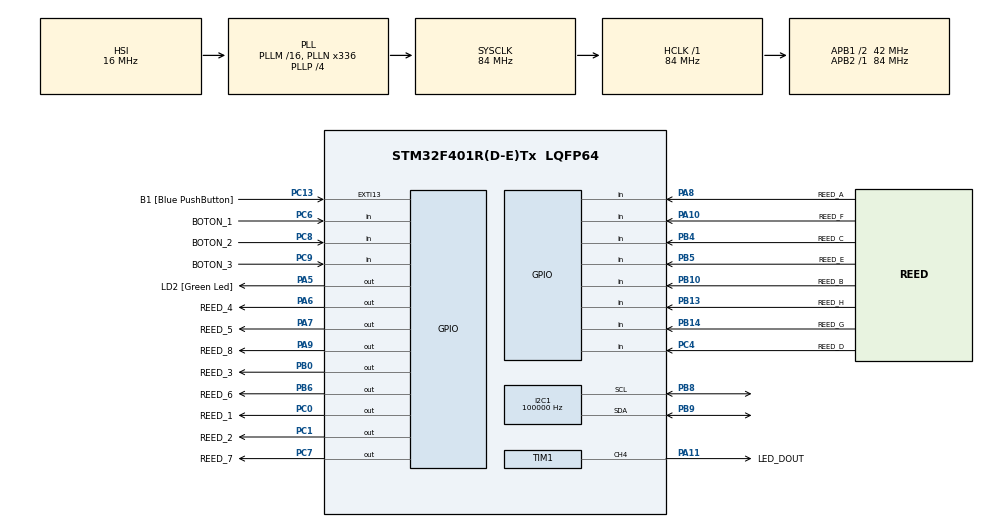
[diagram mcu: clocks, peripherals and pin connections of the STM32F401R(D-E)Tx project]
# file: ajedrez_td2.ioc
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Dma.Request0=TIM1_CH4/TRIG/COM
Dma.TIM1_CH4/TRIG/COM.0.Direction=DMA_MEMORY_TO_PERIPH
Dma.TIM1_CH4/TRIG/COM.0.FIFOMode=DMA_FIFOMODE_DISABLE
Dma.TIM1_CH4/TRIG/COM.0.Instance=DMA2_Stream4
Dma.TIM1_CH4/TRIG/COM.0.MemDataAlignment=DMA_MDATAALIGN_HALFWORD
Dma.TIM1_CH4/TRIG/COM.0.MemInc=DMA_MINC_ENABLE
Dma.TIM1_CH4/TRIG/COM.0.Mode=DMA_NORMAL
Dma.TIM1_CH4/TRIG/COM.0.PeriphDataAlignment=DMA_PDATAALIGN_HALFWORD
Dma.TIM1_CH4/TRIG/COM.0.PeriphInc=DMA_PINC_DISABLE
Dma.TIM1_CH4/TRIG/COM.0.Priority=DMA_PRIORITY_LOW
FREERTOS.INCLUDE_vTaskDelayUntil=1
FREERTOS.Tasks01=defaultTask,0,2048,StartDefaultTask,Default,NULL,Dynamic,NULL,NULL
FREERTOS.configCHECK_FOR_STACK_OVERFLOW=1
FREERTOS.configIDLE_SHOULD_YIELD=0
FREERTOS.configMINIMAL_STACK_SIZE=128
FREERTOS.configTOTAL_HEAP_SIZE=32000
FREERTOS.configUSE_NEWLIB_REENTRANT=1
I2C1.ClockSpeed=100000
I2C1.I2C_Mode=I2C_Standard
Mcu.Family=STM32F4
Mcu.Name=STM32F401R(D-E)Tx
Mcu.Package=LQFP64
NVIC.DMA2_Stream4_IRQn=true\:5\:0\:false\:false\:true\:true\:false\:true\:true
NVIC.PriorityGroup=NVIC_PRIORITYGROUP_4
NVIC.TIM1_TRG_COM_TIM11_IRQn=true\:5\:0\:false\:false\:true\:true\:true\:true\:true
NVIC.TIM2_IRQn=true\:15\:0\:false\:false\:true\:false\:false\:true\:true
NVIC.TimeBase=TIM2_IRQn
NVIC.TimeBaseIP=TIM2
PA10.GPIO_Label=REED_F
PA10.GPIO_PuPd=GPIO_PULLDOWN
PA10.Signal=GPIO_Input
PA11.GPIO_Label=LED_DOUT
PA11.Signal=S_TIM1_CH4
PA13.GPIO_Label=TMS
PA13.Mode=Serial_Wire
PA13.Signal=SYS_JTMS-SWDIO
PA14.GPIO_Label=TCK
PA14.Mode=Serial_Wire
PA14.Signal=SYS_JTCK-SWCLK
PA5.GPIO_Label=LD2 [Green Led]
PA5.GPIO_Mode=GPIO_MODE_OUTPUT_PP
PA5.GPIO_PuPd=GPIO_NOPULL
PA5.GPIO_Speed=GPIO_SPEED_FREQ_LOW
PA5.Signal=GPIO_Output
PA6.GPIO_Label=REED_4
PA6.GPIO_Speed=GPIO_SPEED_FREQ_VERY_HIGH
PA6.Signal=GPIO_Output
PA7.GPIO_Label=REED_5
PA7.GPIO_Speed=GPIO_SPEED_FREQ_VERY_HIGH
PA7.Signal=GPIO_Output
PA8.GPIO_Label=REED_A
PA8.GPIO_PuPd=GPIO_PULLDOWN
PA8.Signal=GPIO_Input
PA9.GPIO_Label=REED_8
PA9.GPIO_Speed=GPIO_SPEED_FREQ_VERY_HIGH
PA9.Signal=GPIO_Output
PB0.GPIO_Label=REED_3
PB0.GPIO_Speed=GPIO_SPEED_FREQ_VERY_HIGH
PB0.Signal=GPIO_Output
PB10.GPIO_Label=REED_B
PB10.GPIO_PuPd=GPIO_PULLDOWN
PB10.Signal=GPIO_Input
PB13.GPIO_Label=REED_H
PB13.GPIO_PuPd=GPIO_PULLDOWN
PB13.Signal=GPIO_Input
PB14.GPIO_Label=REED_G
PB14.GPIO_PuPd=GPIO_PULLDOWN
PB14.Signal=GPIO_Input
PB4.GPIO_Label=REED_C
PB4.GPIO_PuPd=GPIO_PULLDOWN
PB4.Signal=GPIO_Input
PB5.GPIO_Label=REED_E
PB5.GPIO_PuPd=GPIO_PULLDOWN
PB5.Signal=GPIO_Input
PB6.GPIO_Label=REED_6
PB6.GPIO_Speed=GPIO_SPEED_FREQ_VERY_HIGH
PB6.Signal=GPIO_Output
PB8.GPIO_Pu=GPIO_PULLUP
PB8.Mode=I2C
PB8.Signal=I2C1_SCL
PB9.GPIO_Pu=GPIO_PULLUP
PB9.Mode=I2C
PB9.Signal=I2C1_SDA
PC0.GPIO_Label=REED_1
PC0.GPIO_Speed=GPIO_SPEED_FREQ_VERY_HIGH
PC0.Signal=GPIO_Output
PC1.GPIO_Label=REED_2
PC1.GPIO_Speed=GPIO_SPEED_FREQ_VERY_HIGH
PC1.Signal=GPIO_Output
PC13-ANTI_TAMP.GPIO_Label=B1 [Blue PushButton]
PC13-ANTI_TAMP.GPIO_ModeDefaultEXTI=GPIO_MODE_IT_FALLING
PC13-ANTI_TAMP.GPIO_PuPd=GPIO_NOPULL
PC13-ANTI_TAMP.Signal=GPXTI13
PC14-OSC32_IN.Mode=LSE-External-Oscillator
PC14-OSC32_IN.Signal=RCC_OSC32_IN
PC15-OSC32_OUT.Mode=LSE-External-Oscillator
PC15-OSC32_OUT.Signal=RCC_OSC32_OUT
PC4.GPIO_Label=REED_D
PC4.GPIO_PuPd=GPIO_PULLDOWN
PC4.Signal=GPIO_Input
PC6.GPIO_Label=BOTON_1
PC6.GPIO_PuPd=GPIO_PULLUP
PC6.Signal=GPIO_Input
PC7.GPIO_Label=REED_7
PC7.GPIO_Speed=GPIO_SPEED_FREQ_VERY_HIGH
PC7.Signal=GPIO_Output
PC8.GPIO_Label=BOTON_2
PC8.GPIO_Mode=GPIO_MODE_INPUT
PC8.GPIO_PuPd=GPIO_PULLUP
PC8.Signal=GPIO_Input
PC9.GPIO_Label=BOTON_3
PC9.GPIO_PuPd=GPIO_PULLUP
PC9.Signal=GPIO_Input
PH0\ -\ OSC_IN.Mode=HSE-External-Clock-Source
PH0\ -\ OSC_IN.Signal=RCC_OSC_IN
PH1\ -\ OSC_OUT.Mode=HSE-External-Clock-Source
PH1\ -\ OSC_OUT.Signal=RCC_OSC_OUT
ProjectManager.HeapSize=0x1000
ProjectManager.StackSize=0x40000
ProjectManager.TargetToolchain=STM32CubeIDE
RCC.48MHZClocksFreq_Value=48000000
RCC.AHBFreq_Value=84000000
RCC.APB1CLKDivider=RCC_HCLK_DIV2
RCC.APB1Freq_Value=42000000
RCC.APB1TimFreq_Value=84000000
RCC.APB2Freq_Value=84000000
RCC.APB2TimFreq_Value=84000000
RCC.CortexFreq_Value=84000000
RCC.HCLKFreq_Value=84000000
RCC.HSE_VALUE=8000000
RCC.HSI_VALUE=16000000
RCC.PLLN=336
RCC.PLLP=RCC_PLLP_DIV4
RCC.PLLQ=7
RCC.SYSCLKFreq_VALUE=84000000
RCC.SYSCLKSource=RCC_SYSCLKSOURCE_PLLCLK
RCC.VCOOutputFreq_Value=336000000
SH.S_TIM1_CH4.0=TIM1_CH4,PWM Generation4 CH4
TIM1.Channel-PWM\ Generation4\ CH4=TIM_CHANNEL_4
TIM1.OCPolarity_4=TIM_OCPOLARITY_LOW
TIM1.Period=104
VP_FREERTOS_VS_CMSIS_V1.Mode=CMSIS_V1
VP_SYS_VS_tim2.Mode=TIM2
board=NUCLEO-F401RE

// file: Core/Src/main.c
/* USER CODE BEGIN Header */
/**
 ******************************************************************************
 * @file           : main.c
 * @brief          : Main program body
 ******************************************************************************
 * @attention
 *
 * Copyright (c) 2023 STMicroelectronics.
 * All rights reserved.
 *
 * This software is licensed under terms that can be found in the LICENSE file
 * in the root directory of this software component.
 * If no LICENSE file comes with this software, it is provided AS-IS.
 *
 ******************************************************************************
 */
/* USER CODE END Header */
#include "main.h"
#include "cmsis_os.h"

/* USER CODE BEGIN Includes */
#include "tareas.h"
#include "characterLCD.h"
#include "reed/reed.h"
/* USER CODE END Includes */

I2C_HandleTypeDef hi2c1;

TIM_HandleTypeDef htim1;
DMA_HandleTypeDef hdma_tim1_ch4_trig_com;

osThreadId defaultTaskHandle;

void SystemClock_Config(void);
static void MX_GPIO_Init(void);
static void MX_DMA_Init(void);
static void MX_TIM1_Init(void);
static void MX_I2C1_Init(void);
void StartDefaultTask(void const * argument);

/* USER CODE BEGIN 0 */

xQueueHandle lcd_queue;
xQueueHandle buttons_queue;
xSemaphoreHandle ws2812_sem;

/* USER CODE END 0 */

int main(void)
{

  /* MCU Configuration--------------------------------------------------------*/

  /* Reset of all peripherals, Initializes the Flash interface and the Systick. */
  HAL_Init();

  /* Configure the system clock */
  SystemClock_Config();

  /* Initialize all configured peripherals */
  MX_GPIO_Init();
  MX_DMA_Init();
  MX_TIM1_Init();
  MX_I2C1_Init();
  /* USER CODE BEGIN 2 */

	lcd_queue = xQueueCreate(20, sizeof(LCDQueueItem_t));
	buttons_queue = xQueueCreate(20, sizeof(uint8_t));
	ws2812_sem = xSemaphoreCreateBinary();

  /* USER CODE END 2 */

  /* Create the thread(s) */
  /* definition and creation of defaultTask */
  osThreadDef(defaultTask, StartDefaultTask, osPriorityNormal, 0, 2048);
  defaultTaskHandle = osThreadCreate(osThread(defaultTask), NULL);

  /* USER CODE BEGIN RTOS_THREADS */
	xTaskCreate(t_LCD, "t_LCD",
	configMINIMAL_STACK_SIZE,
	NULL,
	tskIDLE_PRIORITY + 3,
	NULL);

	xTaskCreate(t_Timer, "t_Timer",
	configMINIMAL_STACK_SIZE,
	NULL,
	tskIDLE_PRIORITY + 4,
	NULL);

	xTaskCreate(t_Botones, "t_Botones",
	configMINIMAL_STACK_SIZE,
	NULL,
	tskIDLE_PRIORITY + 2,
	NULL);

	xTaskCreate(t_WS2812, "t_WS2812",
	configMINIMAL_STACK_SIZE,
	NULL,
	tskIDLE_PRIORITY + 5,
	NULL);

	xTaskCreate(t_reed_scan_sensors, "t_reed_scan_sensors",
	configMINIMAL_STACK_SIZE,
	NULL,
	tskIDLE_PRIORITY + 6,
	NULL);

	xTaskCreate(t_userLoop, "t_userLoop",
	configMINIMAL_STACK_SIZE*16,
	NULL,
	tskIDLE_PRIORITY + 1,
	NULL);

	/* add threads, ... */
  /* USER CODE END RTOS_THREADS */

  /* Start scheduler */
  osKernelStart();

  /* We should never get here as control is now taken by the scheduler */
  /* Infinite loop */
	while (1) {

	}
}

void SystemClock_Config(void)
{
  RCC_OscInitTypeDef RCC_OscInitStruct = {0};
  RCC_ClkInitTypeDef RCC_ClkInitStruct = {0};

  /** Configure the main internal regulator output voltage
  */
  __HAL_RCC_PWR_CLK_ENABLE();
  __HAL_PWR_VOLTAGESCALING_CONFIG(PWR_REGULATOR_VOLTAGE_SCALE2);

  /** Initializes the RCC Oscillators according to the specified parameters
  * in the RCC_OscInitTypeDef structure.
  */
  RCC_OscInitStruct.OscillatorType = RCC_OSCILLATORTYPE_HSI;
  RCC_OscInitStruct.HSIState = RCC_HSI_ON;
  RCC_OscInitStruct.HSICalibrationValue = RCC_HSICALIBRATION_DEFAULT;
  RCC_OscInitStruct.PLL.PLLState = RCC_PLL_ON;
  RCC_OscInitStruct.PLL.PLLSource = RCC_PLLSOURCE_HSI;
  RCC_OscInitStruct.PLL.PLLM = 16;
  RCC_OscInitStruct.PLL.PLLN = 336;
  RCC_OscInitStruct.PLL.PLLP = RCC_PLLP_DIV4;
  RCC_OscInitStruct.PLL.PLLQ = 7;
  if (HAL_RCC_OscConfig(&RCC_OscInitStruct) != HAL_OK)
  {
    Error_Handler();
  }

  /** Initializes the CPU, AHB and APB buses clocks
  */
  RCC_ClkInitStruct.ClockType = RCC_CLOCKTYPE_HCLK|RCC_CLOCKTYPE_SYSCLK
                              |RCC_CLOCKTYPE_PCLK1|RCC_CLOCKTYPE_PCLK2;
  RCC_ClkInitStruct.SYSCLKSource = RCC_SYSCLKSOURCE_PLLCLK;
  RCC_ClkInitStruct.AHBCLKDivider = RCC_SYSCLK_DIV1;
  RCC_ClkInitStruct.APB1CLKDivider = RCC_HCLK_DIV2;
  RCC_ClkInitStruct.APB2CLKDivider = RCC_HCLK_DIV1;

  if (HAL_RCC_ClockConfig(&RCC_ClkInitStruct, FLASH_LATENCY_2) != HAL_OK)
  {
    Error_Handler();
  }
}

static void MX_I2C1_Init(void)
{

  hi2c1.Instance = I2C1;
  hi2c1.Init.ClockSpeed = 100000;
  hi2c1.Init.DutyCycle = I2C_DUTYCYCLE_2;
  hi2c1.Init.OwnAddress1 = 0;
  hi2c1.Init.AddressingMode = I2C_ADDRESSINGMODE_7BIT;
  hi2c1.Init.DualAddressMode = I2C_DUALADDRESS_DISABLE;
  hi2c1.Init.OwnAddress2 = 0;
  hi2c1.Init.GeneralCallMode = I2C_GENERALCALL_DISABLE;
  hi2c1.Init.NoStretchMode = I2C_NOSTRETCH_DISABLE;
  if (HAL_I2C_Init(&hi2c1) != HAL_OK)
  {
    Error_Handler();
  }

}

static void MX_TIM1_Init(void)
{

  TIM_MasterConfigTypeDef sMasterConfig = {0};
  TIM_OC_InitTypeDef sConfigOC = {0};
  TIM_BreakDeadTimeConfigTypeDef sBreakDeadTimeConfig = {0};

  htim1.Instance = TIM1;
  htim1.Init.Prescaler = 0;
  htim1.Init.CounterMode = TIM_COUNTERMODE_UP;
  htim1.Init.Period = 104;
  htim1.Init.ClockDivision = TIM_CLOCKDIVISION_DIV1;
  htim1.Init.RepetitionCounter = 0;
  htim1.Init.AutoReloadPreload = TIM_AUTORELOAD_PRELOAD_DISABLE;
  if (HAL_TIM_PWM_Init(&htim1) != HAL_OK)
  {
    Error_Handler();
  }
  sMasterConfig.MasterOutputTrigger = TIM_TRGO_RESET;
  sMasterConfig.MasterSlaveMode = TIM_MASTERSLAVEMODE_DISABLE;
  if (HAL_TIMEx_MasterConfigSynchronization(&htim1, &sMasterConfig) != HAL_OK)
  {
    Error_Handler();
  }
  sConfigOC.OCMode = TIM_OCMODE_PWM1;
  sConfigOC.Pulse = 0;
  sConfigOC.OCPolarity = TIM_OCPOLARITY_LOW;
  sConfigOC.OCFastMode = TIM_OCFAST_DISABLE;
  sConfigOC.OCIdleState = TIM_OCIDLESTATE_RESET;
  sConfigOC.OCNIdleState = TIM_OCNIDLESTATE_RESET;
  if (HAL_TIM_PWM_ConfigChannel(&htim1, &sConfigOC, TIM_CHANNEL_4) != HAL_OK)
  {
    Error_Handler();
  }
  sBreakDeadTimeConfig.OffStateRunMode = TIM_OSSR_DISABLE;
  sBreakDeadTimeConfig.OffStateIDLEMode = TIM_OSSI_DISABLE;
  sBreakDeadTimeConfig.LockLevel = TIM_LOCKLEVEL_OFF;
  sBreakDeadTimeConfig.DeadTime = 0;
  sBreakDeadTimeConfig.BreakState = TIM_BREAK_DISABLE;
  sBreakDeadTimeConfig.BreakPolarity = TIM_BREAKPOLARITY_HIGH;
  sBreakDeadTimeConfig.AutomaticOutput = TIM_AUTOMATICOUTPUT_DISABLE;
  if (HAL_TIMEx_ConfigBreakDeadTime(&htim1, &sBreakDeadTimeConfig) != HAL_OK)
  {
    Error_Handler();
  }
  HAL_TIM_MspPostInit(&htim1);

}

static void MX_DMA_Init(void)
{

  /* DMA controller clock enable */
  __HAL_RCC_DMA2_CLK_ENABLE();

  /* DMA interrupt init */
  /* DMA2_Stream4_IRQn interrupt configuration */
  HAL_NVIC_SetPriority(DMA2_Stream4_IRQn, 5, 0);
  HAL_NVIC_EnableIRQ(DMA2_Stream4_IRQn);

}

static void MX_GPIO_Init(void)
{
  GPIO_InitTypeDef GPIO_InitStruct = {0};

  /* GPIO Ports Clock Enable */
  __HAL_RCC_GPIOC_CLK_ENABLE();
  __HAL_RCC_GPIOH_CLK_ENABLE();
  __HAL_RCC_GPIOA_CLK_ENABLE();
  __HAL_RCC_GPIOB_CLK_ENABLE();

  /*Configure GPIO pin Output Level */
  HAL_GPIO_WritePin(GPIOC, REED_1_Pin|REED_2_Pin|REED_7_Pin, GPIO_PIN_RESET);

  /*Configure GPIO pin Output Level */
  HAL_GPIO_WritePin(GPIOA, LD2_Pin|REED_4_Pin|REED_5_Pin|REED_8_Pin, GPIO_PIN_RESET);

  /*Configure GPIO pin Output Level */
  HAL_GPIO_WritePin(GPIOB, REED_3_Pin|REED_6_Pin, GPIO_PIN_RESET);

  /*Configure GPIO pin : B1_Pin */
  GPIO_InitStruct.Pin = B1_Pin;
  GPIO_InitStruct.Mode = GPIO_MODE_IT_FALLING;
  GPIO_InitStruct.Pull = GPIO_NOPULL;
  HAL_GPIO_Init(B1_GPIO_Port, &GPIO_InitStruct);

  /*Configure GPIO pins : REED_1_Pin REED_2_Pin REED_7_Pin */
  GPIO_InitStruct.Pin = REED_1_Pin|REED_2_Pin|REED_7_Pin;
  GPIO_InitStruct.Mode = GPIO_MODE_OUTPUT_PP;
  GPIO_InitStruct.Pull = GPIO_NOPULL;
  GPIO_InitStruct.Speed = GPIO_SPEED_FREQ_VERY_HIGH;
  HAL_GPIO_Init(GPIOC, &GPIO_InitStruct);

  /*Configure GPIO pin : LD2_Pin */
  GPIO_InitStruct.Pin = LD2_Pin;
  GPIO_InitStruct.Mode = GPIO_MODE_OUTPUT_PP;
  GPIO_InitStruct.Pull = GPIO_NOPULL;
  GPIO_InitStruct.Speed = GPIO_SPEED_FREQ_LOW;
  HAL_GPIO_Init(LD2_GPIO_Port, &GPIO_InitStruct);

  /*Configure GPIO pins : REED_4_Pin REED_5_Pin REED_8_Pin */
  GPIO_InitStruct.Pin = REED_4_Pin|REED_5_Pin|REED_8_Pin;
  GPIO_InitStruct.Mode = GPIO_MODE_OUTPUT_PP;
  GPIO_InitStruct.Pull = GPIO_NOPULL;
  GPIO_InitStruct.Speed = GPIO_SPEED_FREQ_VERY_HIGH;
  HAL_GPIO_Init(GPIOA, &GPIO_InitStruct);

  /*Configure GPIO pin : REED_D_Pin */
  GPIO_InitStruct.Pin = REED_D_Pin;
  GPIO_InitStruct.Mode = GPIO_MODE_INPUT;
  GPIO_InitStruct.Pull = GPIO_PULLDOWN;
  HAL_GPIO_Init(REED_D_GPIO_Port, &GPIO_InitStruct);

  /*Configure GPIO pins : REED_3_Pin REED_6_Pin */
  GPIO_InitStruct.Pin = REED_3_Pin|REED_6_Pin;
  GPIO_InitStruct.Mode = GPIO_MODE_OUTPUT_PP;
  GPIO_InitStruct.Pull = GPIO_NOPULL;
  GPIO_InitStruct.Speed = GPIO_SPEED_FREQ_VERY_HIGH;
  HAL_GPIO_Init(GPIOB, &GPIO_InitStruct);

  /*Configure GPIO pins : REED_B_Pin REED_H_Pin REED_G_Pin REED_C_Pin
                           REED_E_Pin */
  GPIO_InitStruct.Pin = REED_B_Pin|REED_H_Pin|REED_G_Pin|REED_C_Pin
                          |REED_E_Pin;
  GPIO_InitStruct.Mode = GPIO_MODE_INPUT;
  GPIO_InitStruct.Pull = GPIO_PULLDOWN;
  HAL_GPIO_Init(GPIOB, &GPIO_InitStruct);

  /*Configure GPIO pins : BOTON_1_Pin BOTON_2_Pin BOTON_3_Pin */
  GPIO_InitStruct.Pin = BOTON_1_Pin|BOTON_2_Pin|BOTON_3_Pin;
  GPIO_InitStruct.Mode = GPIO_MODE_INPUT;
  GPIO_InitStruct.Pull = GPIO_PULLUP;
  HAL_GPIO_Init(GPIOC, &GPIO_InitStruct);

  /*Configure GPIO pins : REED_A_Pin REED_F_Pin */
  GPIO_InitStruct.Pin = REED_A_Pin|REED_F_Pin;
  GPIO_InitStruct.Mode = GPIO_MODE_INPUT;
  GPIO_InitStruct.Pull = GPIO_PULLDOWN;
  HAL_GPIO_Init(GPIOA, &GPIO_InitStruct);

}

void StartDefaultTask(void const * argument)
{
	for (;;) {
		osDelay(1);
	}
}

void HAL_TIM_PeriodElapsedCallback(TIM_HandleTypeDef *htim)
{
  if (htim->Instance == TIM2) {
    HAL_IncTick();
  }
}

void Error_Handler(void)
{
	__disable_irq();
	while (1) {
	}
}
